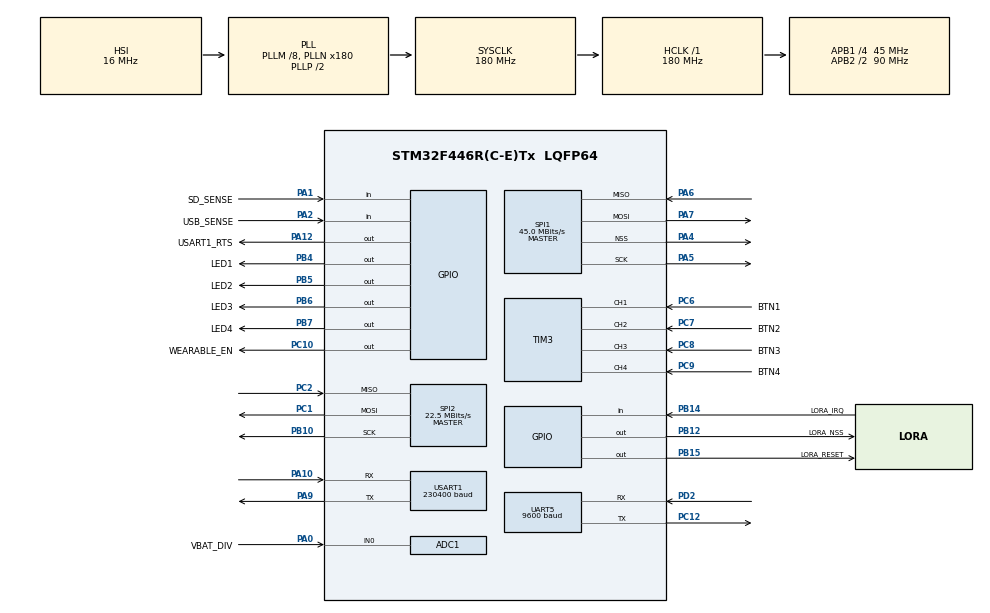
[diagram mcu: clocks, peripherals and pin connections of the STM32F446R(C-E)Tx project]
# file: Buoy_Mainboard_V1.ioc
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ADC1.Channel-1\#ChannelRegularConversion=ADC_CHANNEL_0
ADC1.NbrOfConversionFlag=1
ADC1.Rank-1\#ChannelRegularConversion=1
ADC1.Resolution=ADC_RESOLUTION_8B
ADC1.SamplingTime-1\#ChannelRegularConversion=ADC_SAMPLETIME_3CYCLES
ADC1.master=1
Mcu.Family=STM32F4
Mcu.Name=STM32F446R(C-E)Tx
Mcu.Package=LQFP64
NVIC.PriorityGroup=NVIC_PRIORITYGROUP_4
NVIC.TIM3_IRQn=true\:0\:0\:false\:false\:true\:true\:true\:true
NVIC.UART5_IRQn=true\:0\:0\:false\:false\:true\:true\:true\:true
NVIC.USART1_IRQn=true\:0\:0\:false\:false\:true\:true\:true\:true
PA0-WKUP.GPIO_Label=VBAT_DIV
PA0-WKUP.Signal=ADCx_IN0
PA1.GPIO_Label=SD_SENSE
PA1.Signal=GPIO_Input
PA10.Mode=Asynchronous
PA10.Signal=USART1_RX
PA12.GPIO_Label=USART1_RTS
PA12.Signal=GPIO_Output
PA13.Mode=Serial_Wire
PA13.Signal=SYS_JTMS-SWDIO
PA14.Mode=Serial_Wire
PA14.Signal=SYS_JTCK-SWCLK
PA2.GPIO_Label=USB_SENSE
PA2.Signal=GPIO_Input
PA4.Mode=NSS_Signal_Hard_Output
PA4.Signal=SPI1_NSS
PA5.Mode=Full_Duplex_Master
PA5.Signal=SPI1_SCK
PA6.Mode=Full_Duplex_Master
PA6.Signal=SPI1_MISO
PA7.Mode=Full_Duplex_Master
PA7.Signal=SPI1_MOSI
PA9.Mode=Asynchronous
PA9.Signal=USART1_TX
PB10.Mode=Full_Duplex_Master
PB10.Signal=SPI2_SCK
PB12.GPIO_Label=LORA_NSS
PB12.PinState=GPIO_PIN_SET
PB12.Signal=GPIO_Output
PB14.GPIO_Label=LORA_IRQ
PB14.Signal=GPIO_Input
PB15.GPIO_Label=LORA_RESET
PB15.GPIO_PuPd=GPIO_NOPULL
PB15.GPIO_Speed=GPIO_SPEED_FREQ_LOW
PB15.PinState=GPIO_PIN_SET
PB15.Signal=GPIO_Output
PB4.GPIO_Label=LED1
PB4.Signal=GPIO_Output
PB5.GPIO_Label=LED2
PB5.Signal=GPIO_Output
PB6.GPIO_Label=LED3
PB6.Signal=GPIO_Output
PB7.GPIO_Label=LED4
PB7.Signal=GPIO_Output
PC1.Mode=Full_Duplex_Master
PC1.Signal=SPI2_MOSI
PC10.GPIO_Label=WEARABLE_EN
PC10.GPIO_PuPd=GPIO_PULLDOWN
PC10.PinState=GPIO_PIN_SET
PC10.Signal=GPIO_Output
PC12.Mode=Asynchronous
PC12.Signal=UART5_TX
PC14-OSC32_IN.Mode=LSE-External-Oscillator
PC14-OSC32_IN.Signal=RCC_OSC32_IN
PC15-OSC32_OUT.Mode=LSE-External-Oscillator
PC15-OSC32_OUT.Signal=RCC_OSC32_OUT
PC2.Mode=Full_Duplex_Master
PC2.Signal=SPI2_MISO
PC6.GPIO_Label=BTN1
PC6.GPIO_PuPd=GPIO_PULLUP
PC6.Signal=S_TIM3_CH1
PC7.GPIO_Label=BTN2
PC7.GPIO_PuPd=GPIO_PULLUP
PC7.Signal=S_TIM3_CH2
PC8.GPIO_Label=BTN3
PC8.GPIO_PuPd=GPIO_PULLUP
PC8.Signal=S_TIM3_CH3
PC9.GPIO_Label=BTN4
PC9.GPIO_PuPd=GPIO_PULLUP
PC9.Signal=S_TIM3_CH4
PD2.Mode=Asynchronous
PD2.Signal=UART5_RX
PH0-OSC_IN.Mode=HSE-External-Oscillator
PH0-OSC_IN.Signal=RCC_OSC_IN
PH1-OSC_OUT.Mode=HSE-External-Oscillator
PH1-OSC_OUT.Signal=RCC_OSC_OUT
ProjectManager.HeapSize=0x200
ProjectManager.StackSize=0x400
ProjectManager.TargetToolchain=STM32CubeIDE
RCC.AHBFreq_Value=180000000
RCC.APB1CLKDivider=RCC_HCLK_DIV4
RCC.APB1Freq_Value=45000000
RCC.APB1TimFreq_Value=90000000
RCC.APB2CLKDivider=RCC_HCLK_DIV2
RCC.APB2Freq_Value=90000000
RCC.APB2TimFreq_Value=180000000
RCC.CortexFreq_Value=180000000
RCC.HCLKFreq_Value=180000000
RCC.HSE_VALUE=8000000
RCC.PLLM=8
RCC.PLLN=180
RCC.RCC_RTC_Clock_SourceVirtual=RCC_RTCCLKSOURCE_LSE
RCC.SYSCLKFreq_VALUE=180000000
RCC.SYSCLKSource=RCC_SYSCLKSOURCE_PLLCLK
RCC.USBFreq_Value=180000000
RCC.VCOOutputFreq_Value=360000000
SH.ADCx_IN0.0=ADC1_IN0,IN0
SH.S_TIM3_CH1.0=TIM3_CH1,Input_Capture1_from_TI1
SH.S_TIM3_CH2.0=TIM3_CH2,Input_Capture2_from_TI2
SH.S_TIM3_CH3.0=TIM3_CH3,Input_Capture3_from_TI3
SH.S_TIM3_CH4.0=TIM3_CH4,Input_Capture4_from_TI4
SPI1.BaudRatePrescaler=SPI_BAUDRATEPRESCALER_2
SPI1.CalculateBaudRate=45.0 MBits/s
SPI1.Direction=SPI_DIRECTION_2LINES
SPI1.Mode=SPI_MODE_MASTER
SPI1.VirtualNSS=VM_NSSHARD
SPI1.VirtualType=VM_MASTER
SPI2.BaudRatePrescaler=SPI_BAUDRATEPRESCALER_2
SPI2.CalculateBaudRate=22.5 MBits/s
SPI2.Direction=SPI_DIRECTION_2LINES
SPI2.Mode=SPI_MODE_MASTER
SPI2.VirtualType=VM_MASTER
TIM3.Channel-Input_Capture1_from_TI1=TIM_CHANNEL_1
TIM3.Channel-Input_Capture2_from_TI2=TIM_CHANNEL_2
TIM3.Channel-Input_Capture3_from_TI3=TIM_CHANNEL_3
TIM3.Channel-Input_Capture4_from_TI4=TIM_CHANNEL_4
UART5.BaudRate=9600
UART5.VirtualMode=Asynchronous
USART1.BaudRate=230400
USART1.VirtualMode=VM_ASYNC
board=custom

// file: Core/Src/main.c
/* USER CODE BEGIN Header */
/**
 ******************************************************************************
 * @file           : main.c
 * @brief          : Main program body
 ******************************************************************************
 * @attention
 *
 * Copyright (c) 2023 STMicroelectronics.
 * All rights reserved.
 *
 * This software is licensed under terms that can be found in the LICENSE file
 * in the root directory of this software component.
 * If no LICENSE file comes with this software, it is provided AS-IS.
 *
 ******************************************************************************
 */
/* USER CODE END Header */
#include "main.h"
#include "adc.h"
#include "spi.h"
#include "tim.h"
#include "usart.h"
#include "gpio.h"

/* USER CODE BEGIN Includes */
#include <stdio.h>
#include "nmea_parse.h"
#include "LoRa.h"
/* USER CODE END Includes */

void SystemClock_Config(void);
/* USER CODE BEGIN PFP */
void try_parse_wearable_message();
void try_parse_gps_data();
void try_parse_observer_message();
/* USER CODE END PFP */

/* USER CODE BEGIN 0 */
#define WEARABLE_TO_BUOY_BUFF_SIZE 255
#define GPS_DATA_BUFF_SIZE 128
#define OBSERVER_TO_BUOY_BUFF_SIZE 255

// when reading from the lora module in quick succession, data seems to get lost
// this delay makes sure lora operations have at least this amount of time between them
#define LORA_DELAY 1000

// make use of 2 buffers per uart to hopefully prevent race conditions from the interrupt
uint8_t wearable_to_buoy_buffs[2][WEARABLE_TO_BUOY_BUFF_SIZE] = { { 0 }, { 0 } };
uint8_t gps_data_buffs[2][GPS_DATA_BUFF_SIZE] = { { 0 }, { 0 } };
uint8_t observer_to_buoy_buff[OBSERVER_TO_BUOY_BUFF_SIZE] = { 0 };
uint8_t last_coords[64] = { 0 };

// used in conjunction with LORA_DELAY
uint32_t last_lora_operation = 0;

GPS gps_parser;
LoRa lora_parser;
/* USER CODE END 0 */

int main(void) {

    /* MCU Configuration--------------------------------------------------------*/

    /* Reset of all peripherals, Initializes the Flash interface and the Systick. */
    HAL_Init();

    /* Configure the system clock */
    SystemClock_Config();

    /* Initialize all configured peripherals */
    MX_GPIO_Init();
    MX_SPI1_Init();
    MX_USART1_UART_Init();
    MX_SPI2_Init();
    MX_ADC1_Init();
    MX_TIM3_Init();
    MX_UART5_Init();
    /* USER CODE BEGIN 2 */
    lora_parser = newLoRa();
    lora_parser.hSPIx = &hspi2;
    lora_parser.CS_port = LORA_NSS_GPIO_Port;
    lora_parser.CS_pin = LORA_NSS_Pin;
    lora_parser.reset_port = LORA_RESET_GPIO_Port;
    lora_parser.reset_pin = LORA_RESET_Pin;
    lora_parser.DIO0_port = LORA_IRQ_GPIO_Port;
    lora_parser.DIO0_pin = LORA_IRQ_Pin;

    lora_parser.frequency = 433; // legal frequency in NL and curacao, do research before changing this
    lora_parser.spredingFactor = SF_7; // higher sf means lower throughput
    lora_parser.bandWidth = BW_125KHz; // can go up to 500 kHz, have to see what is best
    lora_parser.crcRate = CR_4_5; // ratio of error correcting bits vs data bits, have to see what is best
    lora_parser.power = POWER_20db; // default value is max so probably just for energy savings
    lora_parser.overCurrentProtection = 100; // there are some legal limits to this, more research required, leave at default for now
    lora_parser.preamble = 8; // bits for synchronizing transmitter with receiver, default is probably fine

    LoRa_reset(&lora_parser); // reset before init just in case, might not be necessary
    uint16_t lora_status = LoRa_init(&lora_parser);
    if (lora_status != LORA_OK) {
        HAL_GPIO_WritePin(LED4_GPIO_Port, LED4_Pin, GPIO_PIN_SET);
        Error_Handler();
    }
    LoRa_startReceiving(&lora_parser);

    // start receiving uart characters through interrupt
    HAL_UART_Receive_IT(&huart1, wearable_to_buoy_buffs[0], 1);
    HAL_UART_Receive_IT(&huart5, gps_data_buffs[0], 1);
    /* USER CODE END 2 */

    /* Infinite loop */
    /* USER CODE BEGIN WHILE */
    while (1) {
        try_parse_wearable_message();
        try_parse_gps_data();
        try_parse_observer_message();
        /* USER CODE END WHILE */

    }
}

void SystemClock_Config(void) {
    RCC_OscInitTypeDef RCC_OscInitStruct = { 0 };
    RCC_ClkInitTypeDef RCC_ClkInitStruct = { 0 };

    /** Configure the main internal regulator output voltage
     */
    __HAL_RCC_PWR_CLK_ENABLE();
    __HAL_PWR_VOLTAGESCALING_CONFIG(PWR_REGULATOR_VOLTAGE_SCALE1);

    /** Initializes the RCC Oscillators according to the specified parameters
     * in the RCC_OscInitTypeDef structure.
     */
    RCC_OscInitStruct.OscillatorType = RCC_OSCILLATORTYPE_HSI;
    RCC_OscInitStruct.HSIState = RCC_HSI_ON;
    RCC_OscInitStruct.HSICalibrationValue = RCC_HSICALIBRATION_DEFAULT;
    RCC_OscInitStruct.PLL.PLLState = RCC_PLL_ON;
    RCC_OscInitStruct.PLL.PLLSource = RCC_PLLSOURCE_HSI;
    RCC_OscInitStruct.PLL.PLLM = 8;
    RCC_OscInitStruct.PLL.PLLN = 180;
    RCC_OscInitStruct.PLL.PLLP = RCC_PLLP_DIV2;
    RCC_OscInitStruct.PLL.PLLQ = 2;
    RCC_OscInitStruct.PLL.PLLR = 2;
    if (HAL_RCC_OscConfig(&RCC_OscInitStruct) != HAL_OK) {
        Error_Handler();
    }

    /** Activate the Over-Drive mode
     */
    if (HAL_PWREx_EnableOverDrive() != HAL_OK) {
        Error_Handler();
    }

    /** Initializes the CPU, AHB and APB buses clocks
     */
    RCC_ClkInitStruct.ClockType = RCC_CLOCKTYPE_HCLK | RCC_CLOCKTYPE_SYSCLK
            | RCC_CLOCKTYPE_PCLK1 | RCC_CLOCKTYPE_PCLK2;
    RCC_ClkInitStruct.SYSCLKSource = RCC_SYSCLKSOURCE_PLLCLK;
    RCC_ClkInitStruct.AHBCLKDivider = RCC_SYSCLK_DIV1;
    RCC_ClkInitStruct.APB1CLKDivider = RCC_HCLK_DIV4;
    RCC_ClkInitStruct.APB2CLKDivider = RCC_HCLK_DIV2;

    if (HAL_RCC_ClockConfig(&RCC_ClkInitStruct, FLASH_LATENCY_5) != HAL_OK) {
        Error_Handler();
    }
}

/* USER CODE BEGIN 4 */
void send_to_observer(uint8_t *buff) {
    HAL_GPIO_WritePin(LED4_GPIO_Port, LED4_Pin, GPIO_PIN_SET);
    while (HAL_GetTick() - last_lora_operation < LORA_DELAY) {
    }
    last_lora_operation = HAL_GetTick();
    LoRa_transmit(&lora_parser, buff, strlen((char*) buff), 5000);
    HAL_GPIO_WritePin(LED4_GPIO_Port, LED4_Pin, GPIO_PIN_RESET);
}

void send_to_wearable(uint8_t *buff) {
    HAL_GPIO_WritePin(LED1_GPIO_Port, LED1_Pin, GPIO_PIN_SET);
    // IMPORTANT: rts pin should be high while sending for PoD hardware
    HAL_GPIO_WritePin(USART1_RTS_GPIO_Port, USART1_RTS_Pin, GPIO_PIN_SET);
    HAL_UART_Transmit(&huart1, buff, strlen((char*) buff), 100);
    HAL_GPIO_WritePin(USART1_RTS_GPIO_Port, USART1_RTS_Pin, GPIO_PIN_RESET);
    HAL_GPIO_WritePin(LED1_GPIO_Port, LED1_Pin, GPIO_PIN_RESET);
}

void try_parse_wearable_message() {
    // try to find a valid message in one of the buffers
    for (int i = 0; i < 2; ++i) {
        // start of the received content may contain gibberish, so try to find begin of actual message
        uint8_t *initial_separator = NULL;
        for (int j = 0; j < WEARABLE_TO_BUOY_BUFF_SIZE; ++j) {
            if (wearable_to_buoy_buffs[i][j] == '|') {
                initial_separator = &wearable_to_buoy_buffs[i][j];
                break;
            }
        }

        // delimiter '\n' is still needed to see if message is complete
        uint8_t *delimiter = NULL;
        for (int j = 0; j < WEARABLE_TO_BUOY_BUFF_SIZE; ++j) {
            if (wearable_to_buoy_buffs[i][j] == '\n') {
                delimiter = &wearable_to_buoy_buffs[i][j];
                break;
            }
        }

        // basic filter for valid messages
        if (delimiter != NULL && initial_separator != NULL) {
            send_to_observer(initial_separator); // send from begin of message
            memset(wearable_to_buoy_buffs[i], 0, WEARABLE_TO_BUOY_BUFF_SIZE);
        }
    }
}

void try_parse_gps_data() {
    // try to find a valid message in one of the buffers
    uint8_t *valid_buff = NULL;
    for (int i = 0; i < 2; ++i) {
        // try to find custom delimiter '|'
        uint8_t *delimiter = NULL;
        for (int j = 0; j < GPS_DATA_BUFF_SIZE; ++j) {
            if (gps_data_buffs[i][j] == '|') {
                delimiter = &gps_data_buffs[i][j];
                break;
            }
        }

        if (delimiter != NULL) {
            *delimiter = 0; // if found, reset it to 0
            valid_buff = gps_data_buffs[i];
            break;
        }
    }

    if (valid_buff == NULL) {
        return;
    }

    nmea_parse(&gps_parser, valid_buff);
    memset(valid_buff, 0, GPS_DATA_BUFF_SIZE);

    if (!gps_parser.fix) {
        HAL_GPIO_WritePin(LED3_GPIO_Port, LED3_Pin, GPIO_PIN_SET);
        return;
    }
    HAL_GPIO_WritePin(LED3_GPIO_Port, LED3_Pin, GPIO_PIN_RESET);

    // if the coordinate is invalid it defaults to 0.0,0.0
    if (gps_parser.latitude == 0 && gps_parser.longitude == 0) {
        HAL_GPIO_WritePin(LED2_GPIO_Port, LED2_Pin, GPIO_PIN_SET);
        return;
    }
    HAL_GPIO_WritePin(LED2_GPIO_Port, LED2_Pin, GPIO_PIN_RESET);

    // no support for float formatting so use int instead
    int before_dot_lat = (int) gps_parser.latitude;
    int after_dot_lat = (int) ((gps_parser.latitude - before_dot_lat) * 1e6);
    int before_dot_lng = (int) gps_parser.longitude;
    int after_dot_lng = (int) ((gps_parser.longitude - before_dot_lng) * 1e6);

    uint8_t latlng[64] = { 0 };
    sprintf((char*) latlng, "|GPB|%d.%d|%d.%d|", before_dot_lat, after_dot_lat,
            before_dot_lng, after_dot_lng);

    // prevent spamming the wearable with identical coordinates
    if (strcmp((char*) latlng, (char*) last_coords) == 0) {
        return;
    }

    strcpy((char*) last_coords, (char*) latlng);
    send_to_wearable(latlng);
}

void try_parse_observer_message() {
    if (HAL_GetTick() - last_lora_operation < LORA_DELAY) {
        return;
    }
    last_lora_operation = HAL_GetTick();

    LoRa_receive(&lora_parser, observer_to_buoy_buff,
    OBSERVER_TO_BUOY_BUFF_SIZE);

    // basic filter for valid messages
    if (observer_to_buoy_buff[0] != '|') {
        return;
    }

    send_to_wearable(observer_to_buoy_buff);
}

// uart receive interrupt
void HAL_UART_RxCpltCallback(UART_HandleTypeDef *huart) {
    // from wearable
    if (huart == &huart1) {
        static int current_buff = 0;
        static int offset = 0;
        offset = (offset + 1) % WEARABLE_TO_BUOY_BUFF_SIZE;

        // check if received character is the message delimiter '\n'
        if (wearable_to_buoy_buffs[current_buff][offset - 1] == '\n') {
            current_buff = 1 - current_buff; // switch buffers
            offset = 0; // reset offset
        }

        // receive next character on this uart
        HAL_UART_Receive_IT(&huart1,
                &wearable_to_buoy_buffs[current_buff][offset], 1);
    }

    // from gps module
    if (huart == &huart5) {
        static int current_buff = 0;
        static int offset = 0;
        offset = (offset + 1) % GPS_DATA_BUFF_SIZE;

        // check if received character is '$' which all gps module messages start with
        if (gps_data_buffs[current_buff][offset - 1] == '$') {
            gps_data_buffs[current_buff][offset - 1] = '|'; // replace '$' with custom delimiter '|'
            current_buff = 1 - current_buff; // switch buffers
            offset = 1; // reset offset to second character of message
            gps_data_buffs[current_buff][0] = '$'; // mark begin of message in other buffer
        }

        // receive next character on this uart
        HAL_UART_Receive_IT(&huart5, &gps_data_buffs[current_buff][offset], 1);
    }
}
/* USER CODE END 4 */

void Error_Handler(void) {
    __disable_irq();
    while (1) {
    }
}
